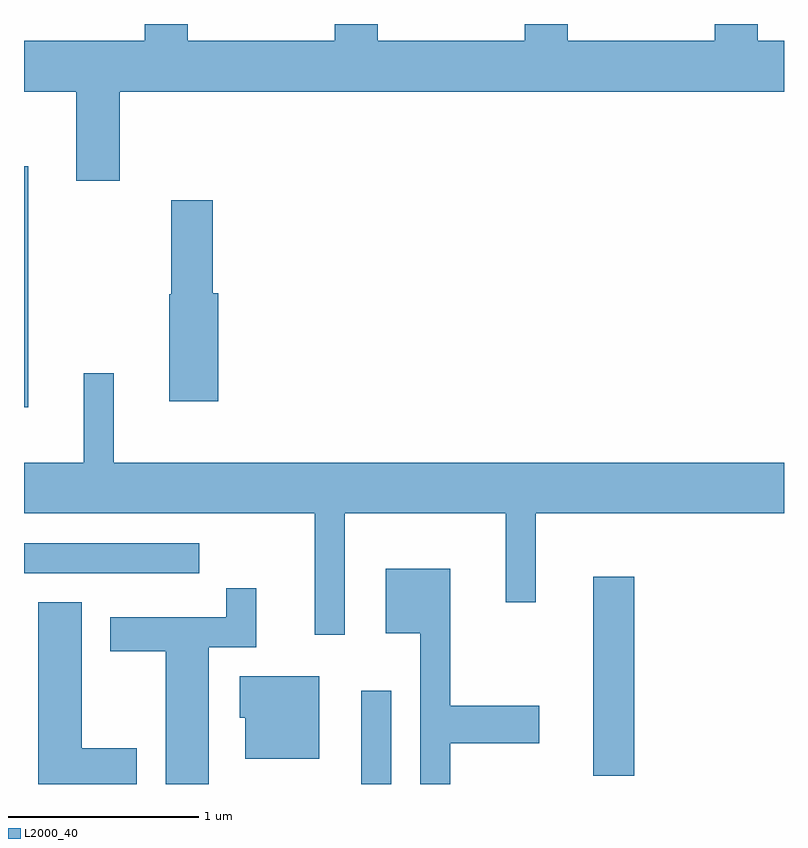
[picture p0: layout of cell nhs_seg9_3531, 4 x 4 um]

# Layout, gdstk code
import gdstk
lib = gdstk.Library(unit=1e-6, precision=1e-09)
def R(c, l, rs):  # rectangles x0, y0, x1, y1
    for r in rs: c.add(gdstk.rectangle(r[:2], r[2:], *l))
def P(c, l, *ps):  # polygons
    for p in ps: c.add(gdstk.Polygon(p, *l))
L2000_40 = (2000, 40)

nhs_seg9_3531 = lib.new_cell('nhs_seg9_3531')
R(nhs_seg9_3531, L2000_40, [(291.386,1950.432,291.544,1950.923), (292.606,1950.476,292.824,1951.524), (289.611,1951.541,290.533,1951.699), (289.611,1952.416,289.634,1953.683)])
P(nhs_seg9_3531, L2000_40, [(290.114,1954.076),(293.611,1954.076),(293.611,1954.344),(293.474,1954.344),(293.474,1954.432),(293.246,1954.432),(293.246,1954.344),(292.474,1954.344),(292.474,1954.432),(292.246,1954.432),(292.246,1954.344),(291.474,1954.344),(291.474,1954.432),(291.246,1954.432),(291.246,1954.344),(290.474,1954.344),(290.474,1954.432),(290.246,1954.432),(290.246,1954.344),(289.611,1954.344),(289.611,1954.076),(289.886,1954.076),(289.886,1953.606),(290.114,1953.606)],
  [(290.634,1953.014),(290.604,1953.014),(290.604,1953.504),(290.386,1953.504),(290.386,1953.01),(290.376,1953.01),(290.376,1952.446),(290.634,1952.446)],
  [(291.299,1951.856),(292.146,1951.856),(292.146,1951.388),(292.304,1951.388),(292.304,1951.856),(293.611,1951.856),(293.611,1952.124),(290.084,1952.124),(290.084,1952.593),(289.926,1952.593),(289.926,1952.124),(289.611,1952.124),(289.611,1951.856),(291.141,1951.856),(291.141,1951.218),(291.299,1951.218)],
  [(291.854,1950.646),(292.324,1950.646),(292.324,1950.844),(291.854,1950.844),(291.854,1951.564),(291.516,1951.564),(291.516,1951.226),(291.696,1951.226),(291.696,1950.432),(291.854,1950.432)],
  [(290.584,1951.151),(290.834,1951.151),(290.834,1951.463),(290.676,1951.463),(290.676,1951.309),(290.066,1951.309),(290.066,1951.131),(290.356,1951.131),(290.356,1950.432),(290.584,1950.432)],
  [(290.204,1950.619),(289.914,1950.619),(289.914,1951.389),(289.686,1951.389),(289.686,1950.432),(290.204,1950.432)],
  [(291.164,1950.999),(290.746,1950.999),(290.746,1950.781),(290.776,1950.781),(290.776,1950.566),(291.164,1950.566)])

lib.write_gds('nhs_seg9_3531.gds')
